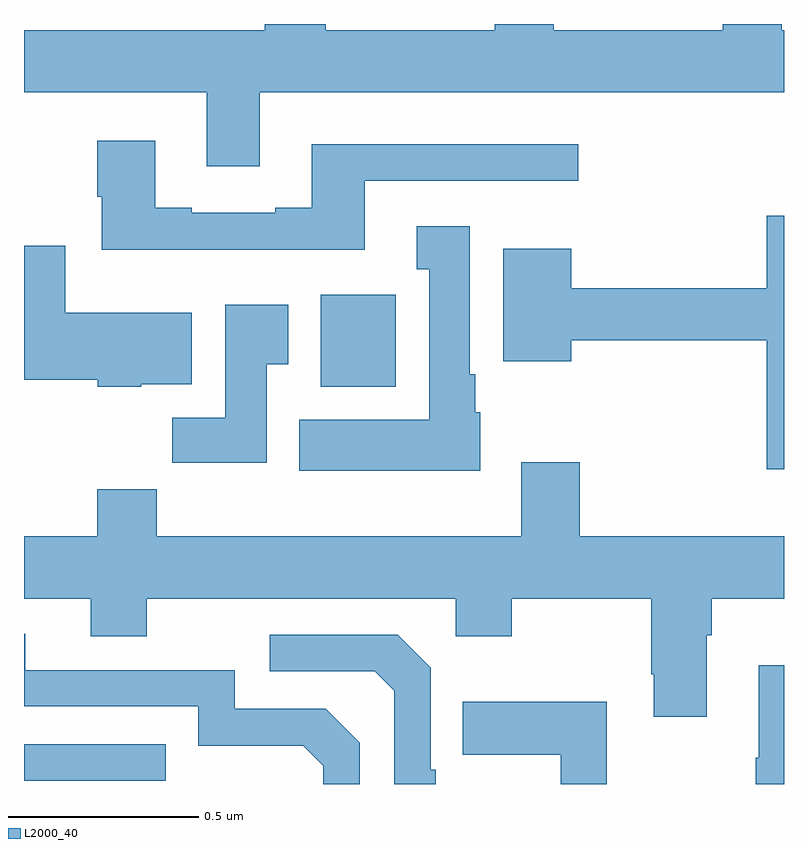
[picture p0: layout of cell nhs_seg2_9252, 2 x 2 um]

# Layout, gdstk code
import gdstk
lib = gdstk.Library(unit=1e-6, precision=1e-09)
def R(c, l, rs):  # rectangles x0, y0, x1, y1
    for r in rs: c.add(gdstk.rectangle(r[:2], r[2:], *l))
def P(c, l, *ps):  # polygons
    for p in ps: c.add(gdstk.Polygon(p, *l))
L2000_40 = (2000, 40)

nhs_seg2_9252 = lib.new_cell('nhs_seg2_9252')
R(nhs_seg2_9252, L2000_40, [(226,661.809,226.373,661.905), (226.781,662.846,226.978,663.088)])
P(nhs_seg2_9252, L2000_40, [(226.621,663.62),(228,663.62),(228,663.784),(227.994,663.784),(227.994,663.8),(227.839,663.8),(227.839,663.784),(227.394,663.784),(227.394,663.8),(227.239,663.8),(227.239,663.784),(226.794,663.784),(226.794,663.8),(226.634,663.8),(226.634,663.784),(226,663.784),(226,663.62),(226.481,663.62),(226.481,663.426),(226.621,663.426)],
  [(226.897,663.387),(227.458,663.387),(227.458,663.484),(226.757,663.484),(226.757,663.316),(226.661,663.316),(226.661,663.303),(226.441,663.303),(226.441,663.316),(226.345,663.316),(226.345,663.493),(226.193,663.493),(226.193,663.345),(226.205,663.345),(226.205,663.206),(226.897,663.206)],
  [(228,663.295),(227.954,663.295),(227.954,663.104),(227.44,663.104),(227.44,663.208),(227.261,663.208),(227.261,662.912),(227.44,662.912),(227.44,662.968),(227.954,662.968),(227.954,662.628),(228,662.628)],
  [(227.2,662.778),(227.188,662.778),(227.188,662.878),(227.173,662.878),(227.173,663.268),(227.033,663.268),(227.033,663.155),(227.066,663.155),(227.066,662.758),(226.724,662.758),(226.724,662.624),(227.2,662.624)],
  [(226.308,662.852),(226.441,662.852),(226.441,663.04),(226.108,663.04),(226.108,663.217),(226,663.217),(226,662.864),(226.194,662.864),(226.194,662.846),(226.308,662.846)],
  [(226.639,662.905),(226.696,662.905),(226.696,663.061),(226.529,663.061),(226.529,662.764),(226.39,662.764),(226.39,662.646),(226.639,662.646)],
  [(227.797,662.192),(227.81,662.192),(227.81,662.288),(228,662.288),(228,662.452),(227.462,662.452),(227.462,662.647),(227.309,662.647),(227.309,662.452),(226.349,662.452),(226.349,662.576),(226.193,662.576),(226.193,662.452),(226,662.452),(226,662.288),(226.175,662.288),(226.175,662.189),(226.323,662.189),(226.323,662.288),(227.136,662.288),(227.136,662.189),(227.283,662.189),(227.283,662.288),(227.65,662.288),(227.65,662.089),(227.657,662.089),(227.657,661.977),(227.797,661.977)],
  [(226.884,661.908),(226.794,661.998),(226.554,661.998),(226.554,662.1),(226.003,662.1),(226.003,662.196),(226,662.196),(226,662.004),(226.458,662.004),(226.458,661.901),(226.735,661.901),(226.788,661.848),(226.788,661.8),(226.884,661.8)],
  [(227.083,661.837),(227.07,661.837),(227.07,662.106),(226.983,662.193),(226.647,662.193),(226.647,662.097),(226.923,662.097),(226.974,662.046),(226.974,661.8),(227.083,661.8)],
  [(228,662.113),(227.933,662.113),(227.933,661.869),(227.926,661.869),(227.926,661.8),(228,661.8)],
  [(227.533,662.017),(227.155,662.017),(227.155,661.877),(227.412,661.877),(227.412,661.8),(227.533,661.8)])

lib.write_gds('nhs_seg2_9252.gds')
